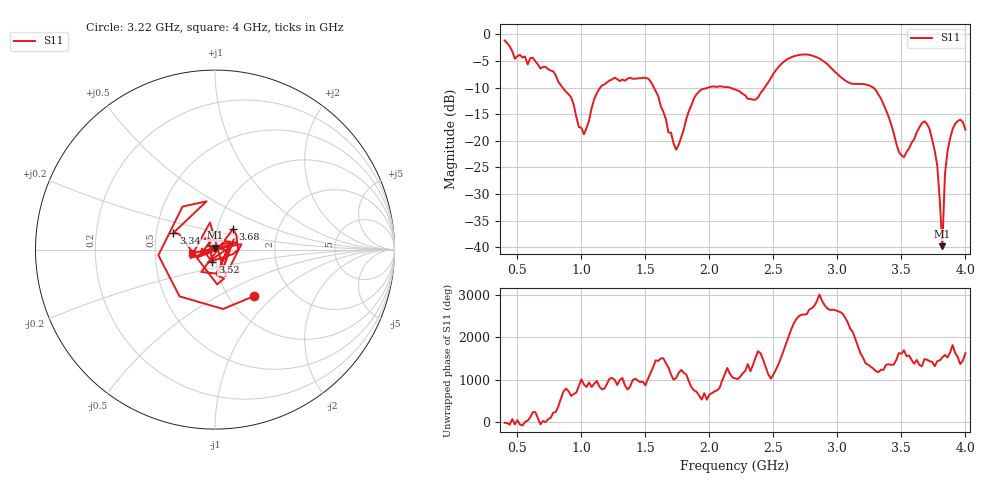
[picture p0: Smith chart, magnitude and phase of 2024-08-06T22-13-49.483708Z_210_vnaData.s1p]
!Created with skrf (http://scikit-rf.org).
# Hz S RI R 50.0
!freq ReS11 ImS11
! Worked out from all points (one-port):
!   181 points, 400 MHz to 4 GHz, reference 50 ohm
!   lowest |S11| = -39.8 dB at 3.82 GHz (marker M1), VSWR 1.02, Z = 50 + j1.02 ohm
!   |S11| at or under -10 dB: 853.4 MHz to 1.147 GHz (293.9 MHz wide, 29.4 % of centre); 1.567 GHz to 1.989 GHz (422.6 MHz wide, 23.8 % of centre); 3.281 GHz to end of sweep (the widest 3 of 4)
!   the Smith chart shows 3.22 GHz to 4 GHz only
!   S11 on the Smith chart (normalised r, x): 3.22 GHz: 1.31, -0.76; 3.34 GHz: 0.61, +0.12; 3.52 GHz: 0.96, -0.13; 3.68 GHz: 1.19, +0.28; 4 GHz: 0.78, -0.03
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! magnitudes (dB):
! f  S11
! 400 MHz  -1.1
! 480 MHz  -4.6
! 620 MHz  -4.4
! 860 MHz  -10.2
! 1.02 GHz  -18.8
! 1.14 GHz  -10.2
! 1.3 GHz  -8.8
! 1.54 GHz  -8.8
! 1.68 GHz  -18.4
! 1.76 GHz  -20.8
! 1.92 GHz  -10.7
! 2.2 GHz  -10.3
! 2.36 GHz  -12.2
! 2.66 GHz  -4.1
! 2.86 GHz  -4.5
! 3.1 GHz  -9.2
! 3.22 GHz  -9.4
! 3.34 GHz  -12.0
! 3.52 GHz  -23.1
! 3.56 GHz  -21.4
! 3.68 GHz  -16.3
! 3.72 GHz  -17.8
! 3.78 GHz  -24.6
! 3.82 GHz  -39.8
! 3.84 GHz  -26.4
! 3.88 GHz  -19.6
! 3.94 GHz  -16.3
! 4 GHz  -17.9
